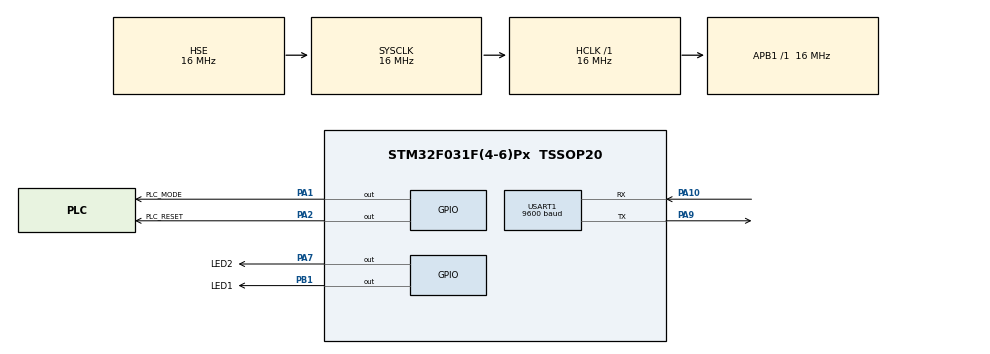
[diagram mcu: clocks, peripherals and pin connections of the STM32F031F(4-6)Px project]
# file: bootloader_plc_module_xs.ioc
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Mcu.Family=STM32F0
Mcu.Name=STM32F031F(4-6)Px
Mcu.Package=TSSOP20
NVIC.FLASH_IRQn=true\:0\:0\:false\:false\:true\:true\:true
NVIC.TIM1_BRK_UP_TRG_COM_IRQn=true\:0\:0\:false\:false\:true\:true\:true
NVIC.USART1_IRQn=true\:0\:0\:false\:false\:true\:true\:true
PA1.GPIO_Label=PLC_MODE
PA1.Signal=GPIO_Output
PA10.GPIO_PuPd=GPIO_PULLUP
PA10.Mode=Asynchronous
PA10.Signal=USART1_RX
PA13.Mode=Serial_Wire
PA13.Signal=SYS_SWDIO
PA14.Mode=Serial_Wire
PA14.Signal=SYS_SWCLK
PA2.GPIO_Label=PLC_RESET
PA2.Signal=GPIO_Output
PA7.GPIO_Label=LED2
PA7.Signal=GPIO_Output
PA9.GPIO_PuPd=GPIO_PULLUP
PA9.Mode=Asynchronous
PA9.Signal=USART1_TX
PB1.GPIO_Label=LED1
PB1.PinState=GPIO_PIN_SET
PB1.Signal=GPIO_Output
PF0-OSC_IN.Mode=HSE-External-Oscillator
PF0-OSC_IN.Signal=RCC_OSC_IN
PF1-OSC_OUT.Mode=HSE-External-Oscillator
PF1-OSC_OUT.Signal=RCC_OSC_OUT
ProjectManager.HeapSize=0x600
ProjectManager.StackSize=0x600
ProjectManager.TargetToolchain=MDK-ARM V5
RCC.AHBFreq_Value=16000000
RCC.APB1Freq_Value=16000000
RCC.APB1TimFreq_Value=16000000
RCC.HCLKFreq_Value=16000000
RCC.HSE_VALUE=16000000
RCC.PLLMUL=RCC_PLL_MUL3
RCC.PLLSourceVirtual=RCC_PLLSOURCE_HSE
RCC.SYSCLKFreq_VALUE=16000000
RCC.SYSCLKSource=RCC_SYSCLKSOURCE_HSE
TIM1.Period=249
TIM1.Prescaler=15999
USART1.BaudRate=9600
USART1.DMADisableonRxErrorParam=ADVFEATURE_DMA_DISABLEONRXERROR
USART1.OneBitSampling=UART_ONE_BIT_SAMPLE_DISABLE
USART1.OverSampling=UART_OVERSAMPLING_16
USART1.OverrunDisableParam=ADVFEATURE_OVERRUN_DISABLE
USART1.VirtualMode-Asynchronous=VM_ASYNC
VP_CRC_VS_CRC.Mode=CRC_Activate
VP_TIM1_VS_ClockSourceINT.Mode=Internal
board=custom

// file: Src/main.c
/* USER CODE BEGIN Header */
/* USER CODE END Header */

#include "main.h"
#include "crc.h"
#include "tim.h"
#include "usart.h"
#include "gpio.h"

/* USER CODE BEGIN Includes */
#include "circular_buffer.h"
#include "plc_greenlight_protocol.h"
#include "stm32_uid.h"
/* USER CODE END Includes */

/* USER CODE BEGIN PV */
FLASH_EraseInitTypeDef EraseInitStruct;

/**Force VectorTable to specific memory position defined in linker*/
volatile uint32_t VectorTable[48] __attribute__((section(".RAMVectorTable")));
/* USER CODE END PV */

void SystemClock_Config(void);
/* USER CODE BEGIN PFP */
#define BOOT_START_ADDRESS          0x08000000U
#define APPLICATION_START_ADDRESS   0x08004000U
#define APPLICATION_LENGTH          0x00004000U

#define TIMEOUT_VALUE               SystemCoreClock/100
#define START_TIMEOUT_VALUE         SystemCoreClock/3200
#define TX_TIMEOUT_VALUE            3000

#define ACK     0x06U
#define NACK    0x16U

/*****************************************************************************/
/*                          Private Variables                                */
/*****************************************************************************/
/*! \brief Buffer for received messages
 */
static uint8_t pRxBuffer[64];

typedef enum
{
    ERASE  = 0x43,
    WRITE  = 0x31,
    VERIFY = 0x51,
    JUMP   = 0xA1,
    SWITCH = 0xF1,
} COMMANDS;

/*****************************************************************************/
/*                     Private Function Prototypes                           */
/*****************************************************************************/

uint32_t crc_32_update(uint8_t *data, uint32_t length);

/*! \brief Jumps to the main application.
 */
static void JumpToApplication(void);

/*! \brief Sends an ACKnowledge byte to the host.
 *
 *  \param  *UartHandle The UART handle
 */
static void Send_ACK(UART_HandleTypeDef *UartHandle);

/*! \brief Sends an NACKnowledge byte to the host.
 *
 *  \param  *UartHandle The UART handle
 */
static void Send_NACK(UART_HandleTypeDef *UartHandle);

/*! \brief Validates the checksum of the message.
 *  Validates the received message through a simple checksum.
 *
 *  Each byte of the message (including the received checksum) is XOR'd with
 *  the previously calculated checksum value. The result should be 0x00.
 *  Note: The first byte of the message is XOR'd with an initial value of 0xFF
 *
 *  \param  *pBuffer    The buffer where the message is stored.
 *  \param  len         The length of the message;
 *  \retval uint8_t     The result of the validation. 1 = OK. 0 = FAIL
 */
static uint8_t CheckChecksum(uint8_t *pBuffer, uint32_t len);

static uint8_t CheckMaintenance(uint8_t * pBuffer);

/*! \brief Erase flash function
 */
static void Erase(void);

/*! \brief Write flash function
 */
static void Write(void);

/*! \brief Check flashed image
 */
static void Verify(void);

//copy the vector table to SRAM
void remapMemToSRAM( void )
{
    uint32_t vecIndex = 0;
    __disable_irq();

    for(vecIndex = 0; vecIndex < 48; vecIndex++){
        VectorTable[vecIndex] = *(volatile uint32_t*)(BOOT_START_ADDRESS + (vecIndex << 2));
    }

    __HAL_SYSCFG_REMAPMEMORY_SRAM();

    __enable_irq();
}

static void ClearpRxBuffer (void);
/* USER CODE END PFP */

int main(void)
{
  /* USER CODE BEGIN 1 */
  remapMemToSRAM();
  /* USER CODE END 1 */

  /* MCU Configuration--------------------------------------------------------*/

  /* Reset of all peripherals, Initializes the Flash interface and the Systick. */
  HAL_Init();

  /* USER CODE BEGIN Init */
//#ifdef ENABLE_RDP_LEVEL1
//  FLASH_OBProgramInitTypeDef FLASH_RDP;
//  HAL_FLASHEx_OBGetConfig(&FLASH_RDP);
//  if (  FLASH_RDP.RDPLevel == OB_RDP_LEVEL_0 )
//  {
//    HAL_FLASH_Unlock();
//    HAL_FLASH_OB_Unlock();
//    FLASH_RDP.RDPLevel = OB_RDP_LEVEL_1;
//    FLASH_RDP.OptionType = OPTIONBYTE_RDP;
//    HAL_FLASHEx_OBErase();
//    HAL_FLASHEx_OBProgram(&FLASH_RDP);
//    HAL_FLASH_OB_Launch();
//    HAL_FLASH_OB_Lock();
//    HAL_FLASH_Lock();
//  }
//#endif

  ClearpRxBuffer();
  /* USER CODE END Init */

  /* Configure the system clock */
  SystemClock_Config();

  /* Initialize all configured peripherals */
  MX_GPIO_Init();
  MX_TIM1_Init();
  MX_USART1_UART_Init();
  MX_CRC_Init();
  /* USER CODE BEGIN 2 */
  Init_UUID();

  HAL_GPIO_WritePin(GPIOB, GPIO_PIN_1, GPIO_PIN_SET); // ONOFF output
  HAL_GPIO_WritePin(PLC_RESET_GPIO_Port, PLC_RESET_Pin, GPIO_PIN_SET);
  HAL_GPIO_WritePin(PLC_MODE_GPIO_Port, PLC_MODE_Pin, GPIO_PIN_RESET);

  HAL_TIM_Base_Start_IT(&htim1);
  /* Hookup Host and Target                                         */
  /* First send a Maintenance packet. Host should reply with ACK    */
  /* If no valid packet is received within TIMEOUT_VALUE            */
  /* then jump to main application                                  */

  // wait for the Maintenance packet with UID of this uC
  if(HAL_UART_Receive(&huart1, pRxBuffer, MAINTENANCE_PACKET_SIZE, START_TIMEOUT_VALUE) != HAL_OK)
  {
    JumpToApplication();
  }
  // if no valid packet, silently switch to the app
  if(CheckMaintenance(pRxBuffer) != 1)
  {
    JumpToApplication();
  }
  else
  {
    Send_ACK(&huart1);
  }

  /* At this point, hookup communication is complete */
  /* Wait for commands and execute accordingly       */
  /* USER CODE END 2 */

  /* Infinite loop */
  while (1)
  {

    /* USER CODE BEGIN 3 */
    // wait for a command
    while(HAL_UART_Receive(&huart1, pRxBuffer, 3, TIMEOUT_VALUE) != HAL_OK);

    if(CheckChecksum(pRxBuffer, 3) != 1)
    {
        Send_NACK(&huart1);
    }
    else
    {
      switch(pRxBuffer[1])
      {
        case ERASE:
            Send_ACK(&huart1);
            Erase();
            break;
        case WRITE:
            Send_ACK(&huart1);
            Write();
            break;
        case VERIFY:
            Send_ACK(&huart1);
            Verify();
            break;
        case JUMP:
            Send_ACK(&huart1);
            JumpToApplication();
            break;
        case SWITCH:
            HAL_GPIO_TogglePin(GPIOB, GPIO_PIN_1); // ONOFF output
            Send_ACK(&huart1);
            JumpToApplication();
            break;
        default: // Unsupported command
            Send_NACK(&huart1);
            break;
      }
    }
	}
  /* USER CODE END 3 */
}

void SystemClock_Config(void)
{
  RCC_OscInitTypeDef RCC_OscInitStruct = {0};
  RCC_ClkInitTypeDef RCC_ClkInitStruct = {0};
  RCC_PeriphCLKInitTypeDef PeriphClkInit = {0};

  /** Initializes the CPU, AHB and APB busses clocks
  */
  RCC_OscInitStruct.OscillatorType = RCC_OSCILLATORTYPE_HSE;
  RCC_OscInitStruct.HSEState = RCC_HSE_ON;
  RCC_OscInitStruct.PLL.PLLState = RCC_PLL_NONE;
  if (HAL_RCC_OscConfig(&RCC_OscInitStruct) != HAL_OK)
  {
    Error_Handler();
  }
  /** Initializes the CPU, AHB and APB busses clocks
  */
  RCC_ClkInitStruct.ClockType = RCC_CLOCKTYPE_HCLK|RCC_CLOCKTYPE_SYSCLK
                              |RCC_CLOCKTYPE_PCLK1;
  RCC_ClkInitStruct.SYSCLKSource = RCC_SYSCLKSOURCE_HSE;
  RCC_ClkInitStruct.AHBCLKDivider = RCC_SYSCLK_DIV1;
  RCC_ClkInitStruct.APB1CLKDivider = RCC_HCLK_DIV1;

  if (HAL_RCC_ClockConfig(&RCC_ClkInitStruct, FLASH_LATENCY_0) != HAL_OK)
  {
    Error_Handler();
  }
  PeriphClkInit.PeriphClockSelection = RCC_PERIPHCLK_USART1;
  PeriphClkInit.Usart1ClockSelection = RCC_USART1CLKSOURCE_PCLK1;
  if (HAL_RCCEx_PeriphCLKConfig(&PeriphClkInit) != HAL_OK)
  {
    Error_Handler();
  }
}

/* USER CODE BEGIN 4 */
void HAL_TIM_PeriodElapsedCallback(TIM_HandleTypeDef *htim)
{
	if (htim == &htim1)
	{
    HAL_GPIO_TogglePin(LED2_GPIO_Port, LED2_Pin);
	}
}

/*! \brief Jumps to the main application.
 */
static void JumpToApplication(void)
{
  HAL_TIM_Base_Stop(&htim1);

  if (((*(__IO uint32_t*)APPLICATION_START_ADDRESS) & 0x2FFE0000 ) == 0x20000000)
  {
    /* First, disable all IRQs */
    __disable_irq();

    /* Get the main application start address */
    uint32_t jump_address = *(__IO uint32_t *)(APPLICATION_START_ADDRESS + 4);

    /* Set the main stack pointer to to the application start address */
    __set_MSP(*(__IO uint32_t *)APPLICATION_START_ADDRESS);

    // Create function pointer for the main application
    void (*pmain_app)(void) = (void (*)(void))(jump_address);

    // Now jump to the main application
    pmain_app();
  }
}

/*! \brief Sends an ACKnowledge byte to the host.
 *
 *  \param  *UartHandle The UART handle
 */
static void Send_ACK(UART_HandleTypeDef *handle)
{
  uint8_t msg[3] = {0x02, ACK, 0x02 ^ ACK};
  HAL_UART_Transmit(handle, msg, 3, TX_TIMEOUT_VALUE);
}

/*! \brief Sends an NACKnowledge byte to the host.
 *
 *  \param  *UartHandle The UART handle
 */
static void Send_NACK(UART_HandleTypeDef *handle)
{
  uint8_t msg[3] = {0x02, NACK, 0x02 ^ NACK};
  HAL_UART_Transmit(handle, msg, 3, TX_TIMEOUT_VALUE);
}

/*! \brief Validates the checksum of the message.
 *  Validates the received message through a simple checksum.
 *
 *  Each byte of the message (including the received checksum) is XOR'd with
 *  the previously calculated checksum value. The result should be 0x00.
 *  Note: The first byte of the message is XOR'd with an initial value of 0xFF
 *
 *  \param  *pBuffer    The buffer where the message is stored.
 *  \param  len         The length of the message;
 *  \retval uint8_t     The result of the validation. 1 = OK. 0 = FAIL
 */
static uint8_t CheckChecksum(uint8_t *pBuffer, uint32_t len)
{
  uint8_t initial = 0xFF;
  uint8_t result = 0x7F; /* some random result value */

  result = initial ^ *pBuffer++;
  len--;
  while(len--)
  {
    result ^= *pBuffer++;
  }

  result ^= 0xFF;

  if(result == 0x00)
  {
    return 1;
  }
  else
  {
    return 0;
  }
}

/*! \brief Erase flash function
 */
static void Erase(void)
{
    // 1 Receive the number of pages to be erased (1 byte)
    // 2 the initial sector to erase  (1 byte)
    // 3 and the checksum             (1 byte)
    ClearpRxBuffer();
    while(HAL_UART_Receive(&huart1, pRxBuffer, 4, TIMEOUT_VALUE) != HAL_OK);
    // validate checksum
    if(CheckChecksum(pRxBuffer, 4) != 1)
    {
        Send_NACK(&huart1);
        return;
    }

    if(pRxBuffer[1] == 0xFF)
    {
        // global erase: not supported
        Send_NACK(&huart1);
    }
    else
    {
        // Sector erase:
        EraseInitStruct.TypeErase = FLASH_TYPEERASE_PAGES;

        // Set the number of sectors to erase
        EraseInitStruct.NbPages = pRxBuffer[1]; // TODO change to constant

        // Set the initial sector to erase
        EraseInitStruct.PageAddress = APPLICATION_START_ADDRESS;//pRxBuffer[2];

        // contains the configuration information on faulty page in case of error
        // (0xFFFFFFFF means that all the pages have been correctly erased)
        uint32_t PageError = 0;

        // perform erase
        HAL_FLASH_Unlock();
        //__HAL_FLASH_CLEAR_FLAG(FLASH_SR_EOP | FLASH_SR_WRPERR | FLASH_SR_PGERR);
        HAL_FLASHEx_Erase(&EraseInitStruct, &PageError); // TODO check HAL_OK output
        HAL_FLASH_Lock();

        Send_ACK(&huart1); // Erasing finished successfully
    }
}

/*! \brief Write flash function
 */
static void Write(void)
{
    // Update Address START command
    // Receive the starting address, the number of bytes to be written and checksum
    // 1-4Address = 4 bytes
    // 5numBytes = 1 byte number of bytes to be written
    // 6Checksum = 1 byte
    ClearpRxBuffer();
    while(HAL_UART_Receive(&huart1, pRxBuffer, 7, TIMEOUT_VALUE) != HAL_OK);

    // Check checksum
    if(CheckChecksum(pRxBuffer, 7) != 1)
    {
      // invalid checksum
      Send_NACK(&huart1);
      //return;
    }
    else
    {
      Send_ACK(&huart1);
    }

    // Set the starting address
    uint32_t startingAddress = ((uint32_t)pRxBuffer[1] << 24) + ((uint32_t)pRxBuffer[2] << 16)
                              + ((uint32_t)pRxBuffer[3] << 8) + ((uint32_t)pRxBuffer[4] << 0);

    // set the number of bytes to be written
    uint8_t numBytes = pRxBuffer[5];

    // Receive the data
    ClearpRxBuffer();

    uint8_t rxed_bytes = 0;
    while(rxed_bytes != numBytes+2)
    {
      HAL_UART_Receive(&huart1, pRxBuffer+rxed_bytes, 1, TIMEOUT_VALUE);
      rxed_bytes++;
    };
    HAL_UART_Abort(&huart1);

    uint8_t checksum_intel = 0;
    for (uint8_t i = 1; i <= numBytes; i++)
      checksum_intel += pRxBuffer[i];

    checksum_intel += numBytes;
    checksum_intel += (uint8_t)((startingAddress >> 8)& 0x000000FF);
    checksum_intel += (uint8_t)(startingAddress & 0x000000FF);
    checksum_intel += pRxBuffer[numBytes+1];

    // valid checksum at this point
    // Program flash with the data
    uint8_t i = 1;
    HAL_FLASH_Unlock();
    while(numBytes)
    {
      HAL_FLASH_Program(FLASH_TYPEPROGRAM_HALFWORD, startingAddress, pRxBuffer[i] + (pRxBuffer[i+1] << 8));
      startingAddress += 2;
      i += 2;
      numBytes -= 2;
    }
    HAL_FLASH_Lock();

    // Check checksum of received data
    if(checksum_intel != 0x00)
    {
      // invalid checksum
      Send_NACK(&huart1);
      //return;
    }
    else
    {
      // Send ACK
      Send_ACK(&huart1);
    }
}

/*! \brief Verify flashed image checksum
 */
static void Verify(void)
{
    // Receive the starting address and checksum
    // AddressStart = 4 bytes
    // AddressEnd = 4 bytes
    // Checksum = 4 byte
    // packet Checksum = 1 byte
    ClearpRxBuffer();
    while(HAL_UART_Receive(&huart1, pRxBuffer, 14, TIMEOUT_VALUE) != HAL_OK);

    // Check checksum
    if(CheckChecksum(pRxBuffer, 14) != 1)
    {
        // invalid checksum
        Send_NACK(&huart1);
        return;
    }
    else
    {
        Send_ACK(&huart1);
    }

    // Set the starting address
    uint32_t startingAddress = ((uint32_t)pRxBuffer[1] << 24) + ((uint32_t)pRxBuffer[2] << 16)
                             + ((uint32_t)pRxBuffer[3] << 8 ) + ((uint32_t)pRxBuffer[4] << 0);

    uint32_t endingAddress = ((uint32_t)pRxBuffer[5] << 24) + ((uint32_t) pRxBuffer[6] << 16)
                           + ((uint32_t)pRxBuffer[7] << 8 ) + ((uint32_t)pRxBuffer[8] << 0 );

    uint32_t correct_checksum = ((uint32_t)pRxBuffer[9]  << 0 ) + ((uint32_t)pRxBuffer[10] << 8)
                              + ((uint32_t)pRxBuffer[11] << 16) + ((uint32_t)pRxBuffer[12] << 24 );

    uint8_t * data = (uint8_t *)((__IO uint8_t*) startingAddress);

    /* Reset CRC Calculation Unit (hcrc->Instance->INIT is
    *  written in hcrc->Instance->DR) */
    __HAL_CRC_DR_RESET(&hcrc);
    uint32_t crcResult;
    for(uint32_t address = startingAddress; address < endingAddress; address += 1)
    {
        data = (uint8_t *)((__IO uint8_t*) address);
        crcResult = HAL_CRC_Accumulate(&hcrc, (uint32_t*)data, 1);
    }

    uint8_t plc_buf[5] = {0x04, ((uint8_t*) &crcResult)[0],
                                ((uint8_t*) &crcResult)[1],
                                ((uint8_t*) &crcResult)[2],
                                ((uint8_t*) &crcResult)[3] };

    HAL_UART_Transmit(&huart1, plc_buf, 5, TX_TIMEOUT_VALUE);

    if(crcResult == correct_checksum)
    {
        Signature.Firmware_CRC32 = crcResult;

        HAL_FLASH_Unlock();
        HAL_FLASH_Program(FLASH_TYPEPROGRAM_WORD,
                         (FLASH_ADDR_FOR_STORING+sizeof(uint32_t)*FW_CRC_OFFSET),
                         (uint32_t)crcResult);
        HAL_FLASH_Lock();
        Send_ACK(&huart1);
    }
    else
    {
        Send_NACK(&huart1);
    }

    return;
}

static void ClearpRxBuffer (void)
{
  for (uint8_t i = 0; i < 64; i++)
  {
    pRxBuffer[i] = 0;
  }
}

static uint8_t CheckMaintenance(uint8_t * pBuffer)
{
  if (pBuffer[0] != MAINTENANCE_PACKET_SIZE - 1) //check first byte KQ330 protocol
    return 0; //error

  if (pBuffer[1] != MAINTENANCE_PACKET_HEAD_BYTE_1)
    return 0; //error

  if (pBuffer[2] != MAINTENANCE_PACKET_HEAD_BYTE_2)
    return 0; //error

  uint32_t rxed_id_part1 = (pBuffer[3] << 0)
                    + (pBuffer[4]  << 8 )
                    + (pBuffer[5]  << 16)
                    + (pBuffer[6]  << 24);
  uint32_t rxed_id_part2 = (pBuffer[7] << 0)
                    + (pBuffer[8]  << 8 )
                    + (pBuffer[9]  << 16)
                    + (pBuffer[10] << 24);
  uint32_t rxed_id_part3 = (pBuffer[11] << 0)
                    + (pBuffer[12] << 8 )
                    + (pBuffer[13] << 16)
                    + (pBuffer[14] << 24);

  if (rxed_id_part1 != Signature.idPart1)
    return 0;
  if (rxed_id_part2 != Signature.idPart2)
    return 0;
  if (rxed_id_part3 != Signature.idPart3)
    return 0;

  if (pBuffer[15] != 0x05 && pBuffer[16] != 0x00 && pBuffer[17] != 0x00)
    return 0;

  uint32_t packet_crc = HAL_CRC_Calculate(&hcrc,
                        (uint32_t*)pBuffer,
                        MAINTENANCE_PACKET_SIZE-MAINTENANCE_PACKET_CRC_SIZE);

  uint32_t rxed_crc = (pBuffer[MAINTENANCE_PACKET_SIZE-4] << 24)
                    + (pBuffer[MAINTENANCE_PACKET_SIZE-3] << 16)
                    + (pBuffer[MAINTENANCE_PACKET_SIZE-2] << 8)
                    + (pBuffer[MAINTENANCE_PACKET_SIZE-1] << 0);
  if (rxed_crc != packet_crc)
    return 0;

  return 1;
}

/* USER CODE END 4 */

void Error_Handler(void)
{
}

/************************ (C) COPYRIGHT STMicroelectronics *****END OF FILE****/
